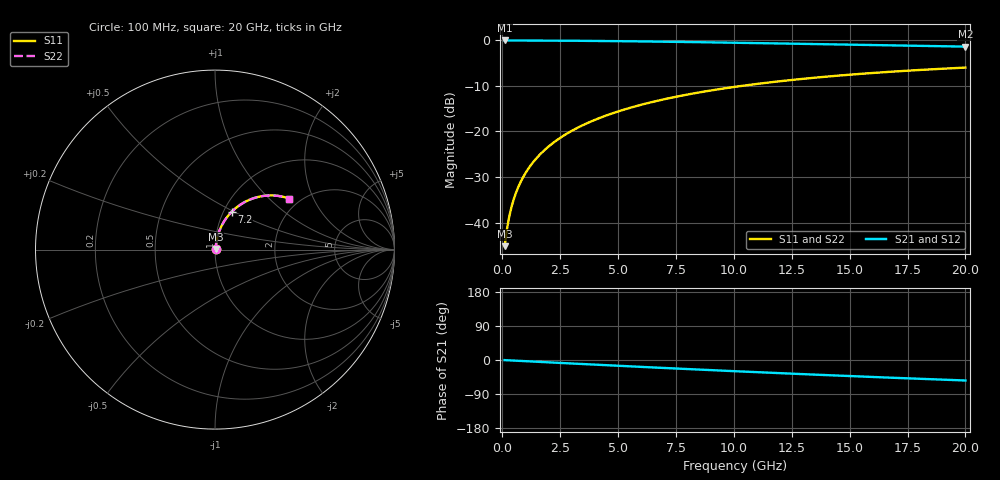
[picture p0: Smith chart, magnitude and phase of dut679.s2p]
! Touchstone file exported from HFSS 2026.1.0
!  File:  C:/ffzhzh/LocalFiles/Ansys_Project_Files/temp_train_TMRDL_679_1783010053_51716.aedt
!  Generated:  12:35:51 AM Jul  3, 2026
!  Design:  TMRDL
!  Project:  temp_train_TMRDL_679_1783010053_51716
! Variables:
!  h_bsmrdl = 2um
!  h_ox = 20um
!  h_rdl = 5um
!  h_sub = 80um
!  h_tmrdl = 3.72um
!  h_tsv = 80um
!  h_via = 3um
!  l_bsmrdl = 300um
!  l_sub = 1205.37um
!  l_tmrdl = 805.37um
!  m_sub = 200um
!  pitch = 50.85um
!  r_tsv = 6um
!  s_tmrdl = 10um
!  w_bsmrdl = 18um
!  w_sub = 500um
!  w_tmrdl = 19.36um
!  x_tsv_center1 = 815.05um
!  x_tsv_center2 = 1133.05um
!  x_tsv_center3 = 1957.78um
!  x_tsv_center4 = 2275.78um
!  x_tsv_center5 = 3100.51um
!  x_tsv_center6 = 3418.51um
# GHz S MA R 50.000000
! Terminal data exported
! Port[1] = TM_RDL1_1_T1
! Port[2] = TM_RDL1_1_T2
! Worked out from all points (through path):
!   200 points, 100 MHz to 20 GHz, reference 50 ohm
!   highest |S21| = -0.04 dB at 100 MHz (marker M1); lowest = -1.4 dB at 20 GHz (marker M2)
!   group delay of S21, straight-line fit = 7.52 ps
!   lowest |S11| = -45.2 dB at 100 MHz (marker M3), VSWR 1.01, Z = 50.4 + j0.368 ohm
!   |S11| at or under -10 dB: start of sweep to 10.36 GHz
!   |S22| runs from -45.2 to -6.0 dB; largest |S21 - S12| = 3.4e-15
!   S11 on the Smith chart (normalised r, x): 100 MHz: 1.01, +0.01; 7.2 GHz: 1.09, +0.49; 20 GHz: 1.76, +1.34
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0.1  0.0055 41.5  0.9959 -0.3  0.9959 -0.3  0.0055 41.5
! Gamma 0 0 0 0
! Port Impedance 50 0 50 0
0.2  0.008413 59.0  0.9957 -0.6  0.9957 -0.6  0.008413 59.0
0.3  0.01163 66.6  0.9955 -1.0  0.9955 -1.0  0.01163 66.6
0.4  0.0149 70.8  0.9953 -1.3  0.9953 -1.3  0.0149 70.8
0.5  0.01819 73.4  0.9951 -1.6  0.9951 -1.6  0.01819 73.4
0.6  0.02149 75.2  0.995 -1.9  0.995 -1.9  0.02149 75.2
0.8  0.02813 77.4  0.9947 -2.5  0.9947 -2.5  0.02814 77.4
1.1  0.03816 78.9  0.9942 -3.4  0.9942 -3.4  0.03816 78.9
1.5  0.05157 79.5  0.9934 -4.7  0.9934 -4.7  0.05157 79.5
1.8  0.06162 79.4  0.9927 -5.6  0.9927 -5.6  0.06162 79.4
2.1  0.07165 79.0  0.9918 -6.5  0.9918 -6.5  0.07165 79.0
2.7  0.09158 77.9  0.9899 -8.3  0.9899 -8.3  0.09158 77.9
3.5  0.1178 76.1  0.9866 -10.8  0.9866 -10.8  0.1178 76.1
4.2  0.1403 74.3  0.9831 -12.9  0.9831 -12.9  0.1403 74.3
5  0.1655 72.1  0.9786 -15.2  0.9786 -15.2  0.1655 72.1
6.8  0.2198 67.2  0.9666 -20.5  0.9666 -20.5  0.2198 67.2
7.2  0.2314 66.1  0.9636 -21.6  0.9636 -21.6  0.2314 66.1
8.6  0.2705 62.3  0.9526 -25.6  0.9526 -25.6  0.2705 62.2
10.1  0.3098 58.3  0.9399 -29.7  0.9399 -29.7  0.3098 58.3
13.4  0.3867 49.9  0.9101 -38.4  0.9101 -38.4  0.3867 49.8
16.7  0.4504 41.9  0.8802 -46.5  0.8802 -46.5  0.4504 41.9
20  0.5017 34.5  0.8522 -54.1  0.8522 -54.1  0.5017 34.5
